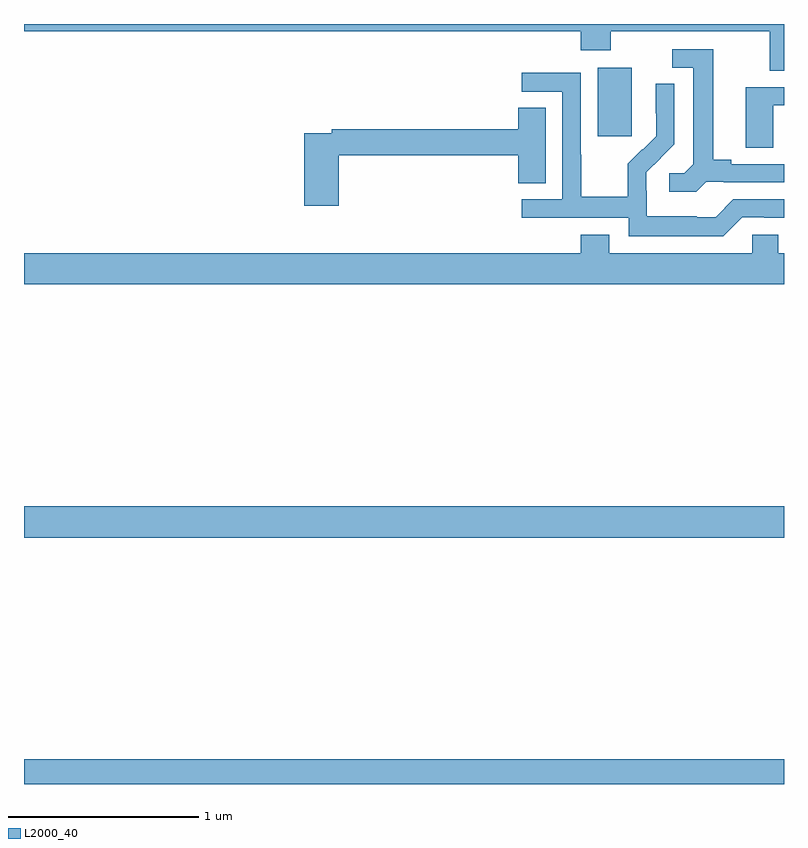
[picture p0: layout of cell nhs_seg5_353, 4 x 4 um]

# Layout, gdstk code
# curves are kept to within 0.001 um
import gdstk
lib = gdstk.Library(unit=1e-6, precision=1e-09)
def R(c, l, rs):  # rectangles x0, y0, x1, y1
    for r in rs: c.add(gdstk.rectangle(r[:2], r[2:], *l))
def P(c, l, *ps):  # polygons
    for p in ps: c.add(gdstk.Polygon(p, *l))
L2000_40 = (2000, 40)

nhs_seg5_353 = lib.new_cell('nhs_seg5_353')
R(nhs_seg5_353, L2000_40, [(133,852.799,137,852.928), (133,854.096,137,854.26), (136.019,856.209,136.198,856.57)])
P(nhs_seg5_353, L2000_40, [(137,856.799),(133,856.799),(133,856.76),(135.929,856.76),(135.929,856.661),(136.089,856.661),(136.089,856.76),(136.925,856.76),(136.925,856.552),(137,856.552)],
  [(136.59,855.969),(136.684,855.969),(136.684,855.966),(137,855.966),(137,856.062),(136.723,856.062),(136.723,856.085),(136.627,856.085),(136.627,856.665),(136.413,856.665),(136.413,856.569),(136.523,856.569),(136.523,856.061),(136.476,856.014),(136.395,856.014),(136.395,855.917),(136.538,855.917)],
  [(136.779,855.783),(136.895,855.783),(136.895,855.78),(137,855.78),(137,855.876),(136.734,855.876),(136.641,855.783),(136.541,855.783),(136.541,855.787),(136.278,855.787),(136.278,855.921),(136.276,855.921),(136.276,856.018),(136.422,856.166),(136.422,856.484),(136.326,856.484),(136.326,856.33),(136.328,856.33),(136.328,856.208),(136.257,856.137),(136.254,856.14),(136.177,856.063),(136.177,855.889),(135.933,855.889),(135.933,856.112),(135.93,856.112),(135.93,856.542),(135.621,856.542),(135.621,856.443),(135.834,856.443),(135.834,855.876),(135.621,855.876),(135.621,855.78),(136.182,855.78),(136.182,855.683),(136.679,855.683)],
  [(136.944,856.371),(137,856.371),(137,856.467),(136.799,856.467),(136.799,856.147),(136.944,856.147)],
  [(134.657,856.108),(135.602,856.108),(135.602,855.961),(135.745,855.961),(135.745,856.358),(135.602,856.358),(135.602,856.244),(134.62,856.244),(134.62,856.224),(134.474,856.224),(134.474,855.843),(134.657,855.843)],
  [(137,855.592),(136.971,855.592),(136.971,855.69),(136.833,855.69),(136.833,855.592),(136.081,855.592),(136.081,855.691),(135.929,855.691),(135.929,855.592),(133,855.592),(133,855.428),(137,855.428)])

lib.write_gds('nhs_seg5_353.gds')
